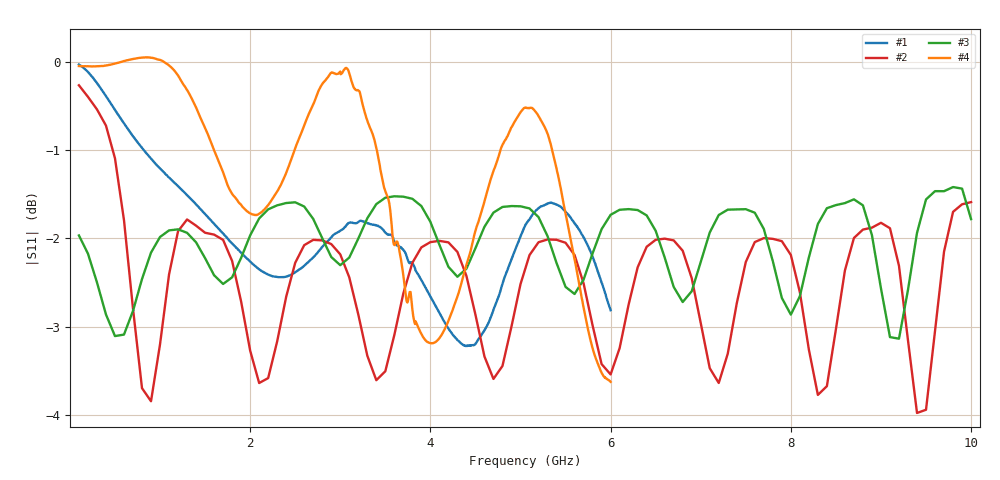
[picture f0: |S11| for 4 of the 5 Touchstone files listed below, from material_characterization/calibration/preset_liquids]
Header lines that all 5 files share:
! Created with skrf 1.12.0 (http://scikit-rf.org).
# Hz S RI R 50.0
!freq ReS11 ImS11
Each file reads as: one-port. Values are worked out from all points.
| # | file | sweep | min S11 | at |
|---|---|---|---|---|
| 1 | ethanol_r60_probe3_2026.s1p | 100 MHz to 6 GHz | -3.2 dB | 4.405 GHz |
| 2 | sim_cst2020_alcohol.s1p | 100 MHz to 10 GHz | -4.0 dB | 9.4 GHz |
| 3 | sim_cst2020_muscle_dut.s1p | 100 MHz to 10 GHz | -3.1 dB | 9.2 GHz |
| 4 | water_r60_probe3_2026.s1p | 100 MHz to 6 GHz | -3.6 dB | 6 GHz |
| 5 | water_r60_probe3mm_18C.s1p | 100 MHz to 6 GHz | -3.6 dB | 6 GHz |
